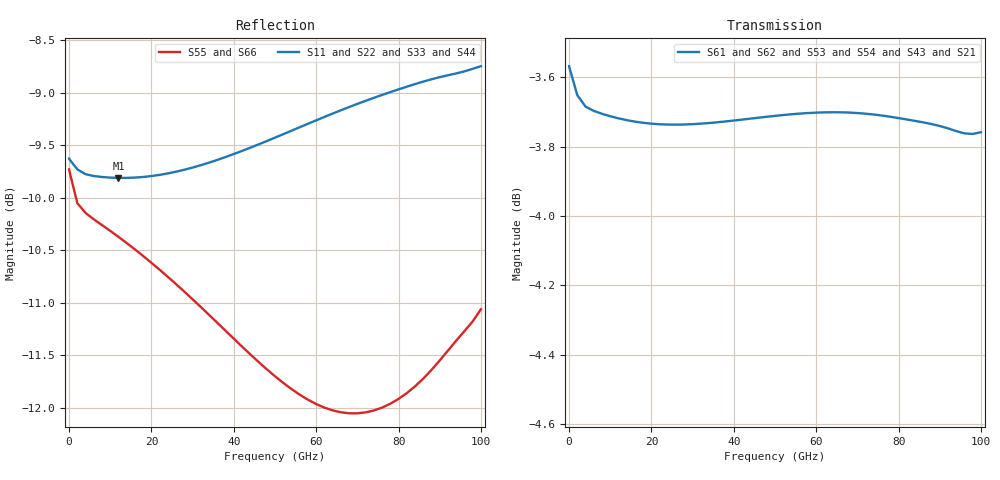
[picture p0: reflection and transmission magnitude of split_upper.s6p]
#  GHZ S DB R 50
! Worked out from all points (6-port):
!   52 points, 10 MHz to 100 GHz, reference 50 ohm
!   strongest paths, dB at 10 MHz, 24 GHz, 50 GHz, 76 GHz, 100 GHz:
!     S61: -3.6, -3.7, -3.7, -3.7, -3.8
!     S62: -3.6, -3.7, -3.7, -3.7, -3.8
!     S53: -3.6, -3.7, -3.7, -3.7, -3.8
!     S54: -3.6, -3.7, -3.7, -3.7, -3.8
!     S43: -3.5, -3.6, -3.8, -4.0, -4.0
!     S21: -3.5, -3.6, -3.8, -4.0, -4.0
!   lowest |S11| = -9.8 dB at 12 GHz (marker M1), VSWR 1.96, Z = 25.6 + j1.48 ohm
!   |S11| at or under -10 dB: nowhere
